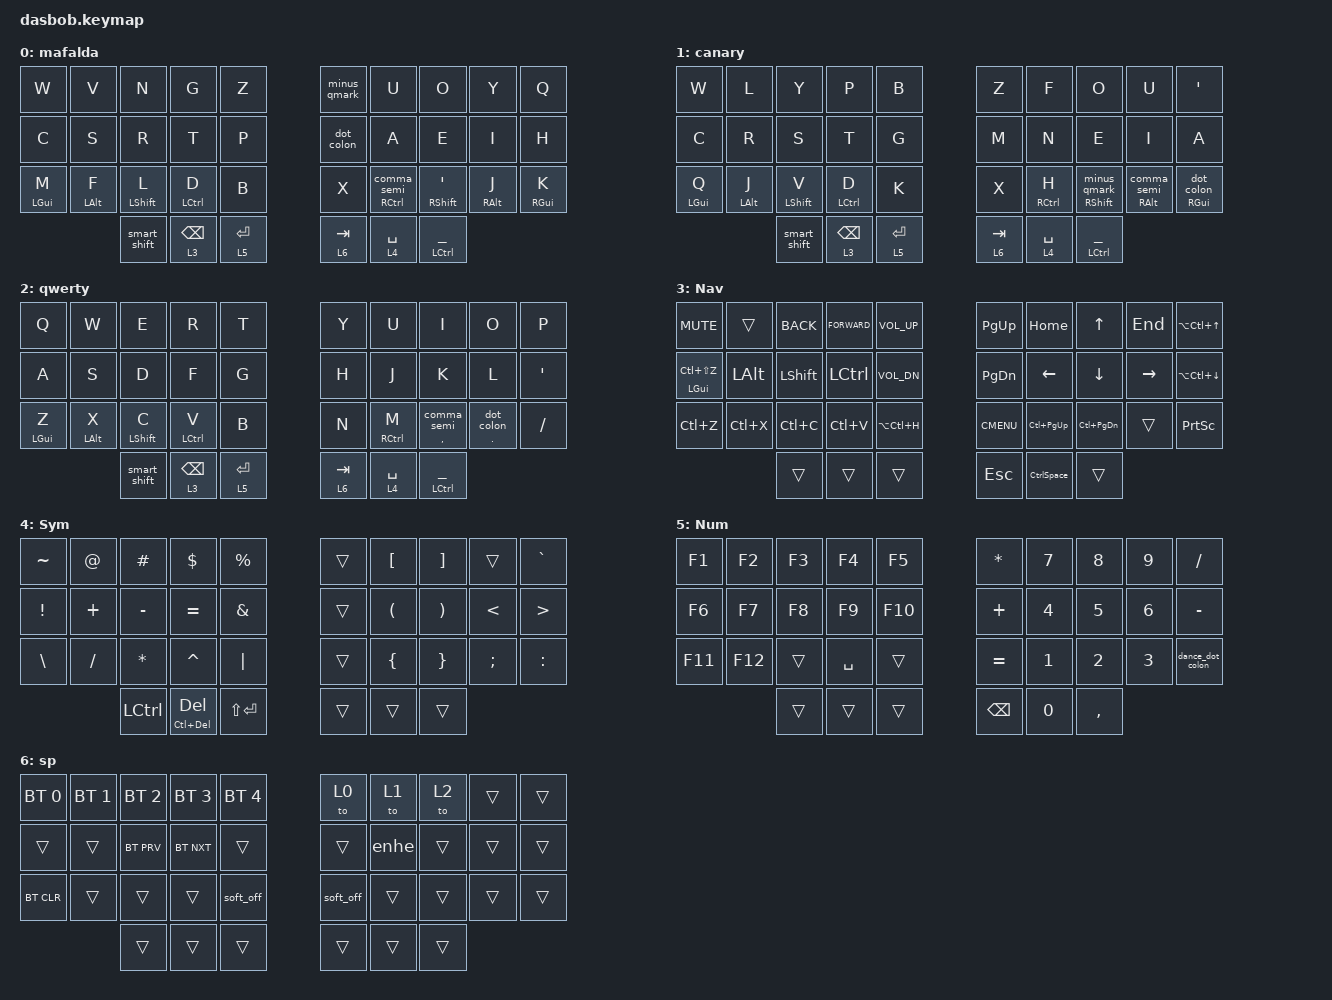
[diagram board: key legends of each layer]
#include <behaviors.dtsi>
#include <dt-bindings/zmk/bt.h>
#include <dt-bindings/zmk/keys.h>

&sk {
    quick-release;             // no double capitalization when rolling keys
};

/ {
    behaviors {
        hm: homerow_mods {
            compatible = "zmk,behavior-hold-tap";
            label = "HOMEROW_MODS";
            bindings = <&kp>, <&kp>;

            #binding-cells = <2>;
            tapping-term-ms = <200>;
            quick-tap-ms = <0>;
            flavor = "tap-preferred";
        };

        minus_qmark: minus_qmark {
            compatible = "zmk,behavior-mod-morph";
            label = "MINUS_QMARK";
            bindings = <&kp MINUS>, <&kp QMARK>;

            #binding-cells = <0>;
            mods = <(MOD_LSFT|MOD_RSFT)>;
        };

        smart_shift: smart_shift {
            compatible = "zmk,behavior-mod-morph";
            label = "SMART_SHIFT";
            bindings = <&sk LSHFT>, <&caps_word>;

            #binding-cells = <0>;
            mods = <(MOD_LSFT)>;
        };

        hml: hml {
            compatible = "zmk,behavior-hold-tap";
            label = "HML";
            bindings = <&kp>, <&kp>;

            #binding-cells = <2>;
            tapping-term-ms = <280>;
            quick-tap-ms = <175>;
            require-prior-idle-ms = <300>;
            flavor = "balanced";
            hold-trigger-on-release;
            hold-trigger-key-positions = <30 31 32 33 34 35 5 15 25 26 16 6 7 8 9 16 17 18 19 26 27 28 29>;
        };

        hmr: hmr {
            compatible = "zmk,behavior-hold-tap";
            label = "HMR";
            bindings = <&kp>, <&kp>;

            #binding-cells = <2>;
            tapping-term-ms = <280>;
            quick-tap-ms = <175>;
            require-prior-idle-ms = <300>;
            flavor = "balanced";
            hold-trigger-on-release;
            hold-trigger-key-positions = <0 1 2 3 4 10 11 12 13 14 20 21 22 23 24 30 31 32 33 34 35>;
        };

        hmr_minus_qmark: hmr_minus_qmark {
            compatible = "zmk,behavior-hold-tap";
            label = "HMR_MINUS_QMARK";
            bindings = <&kp>, <&minus_qmark>;

            #binding-cells = <2>;
            tapping-term-ms = <280>;
            quick-tap-ms = <175>;
            require-prior-idle-ms = <300>;
            flavor = "balanced";
            hold-trigger-on-release;
            hold-trigger-key-positions = <0 1 2 3 4 10 11 12 13 14 20 21 22 23 24 30 31 32 33 34 35>;
        };

        comma_semi: comma_semi {
            compatible = "zmk,behavior-mod-morph";
            label = "COMMA_SEMI";
            bindings = <&kp COMMA>, <&kp SEMI>;

            #binding-cells = <0>;
            mods = <(MOD_LSFT|MOD_RSFT)>;
        };

        dot_colon: dot_colon {
            compatible = "zmk,behavior-mod-morph";
            label = "DOT_COLON";
            bindings = <&kp DOT>, <&kp COLON>;

            #binding-cells = <0>;
            mods = <(MOD_LSFT|MOD_RSFT)>;
        };

        hmr_comma_semi: hmr_comma_semi {
            compatible = "zmk,behavior-hold-tap";
            label = "HMR_COMMA_SEMI";
            bindings = <&kp>, <&comma_semi>;

            #binding-cells = <2>;
            tapping-term-ms = <280>;
            quick-tap-ms = <175>;
            require-prior-idle-ms = <300>;
            flavor = "balanced";
            hold-trigger-on-release;
            hold-trigger-key-positions = <0 1 2 3 4 10 11 12 13 14 20 21 22 23 24 30 31 32 33 34 35>;
        };

        hmr_dot_colon: hmr_dot_colon {
            compatible = "zmk,behavior-hold-tap";
            label = "HMR_DOT_COLON";
            bindings = <&kp>, <&dot_colon>;

            #binding-cells = <2>;
            tapping-term-ms = <280>;
            quick-tap-ms = <175>;
            require-prior-idle-ms = <300>;
            flavor = "balanced";
            hold-trigger-on-release;
            hold-trigger-key-positions = <0 1 2 3 4 10 11 12 13 14 20 21 22 23 24 30 31 32 33 34 35>;
        };

        dance_dot_colon: dance_dot_colon {
            compatible = "zmk,behavior-tap-dance";
            label = "DANCE_DOT_COLON";
            #binding-cells = <0>;
            bindings = <&kp DOT>, <&kp COLON>;
        };
    };

    macros {
        CtrlSpace: CtrlSpace {
            compatible = "zmk,behavior-macro";
            #binding-cells = <0>;
            bindings =
                <&macro_press>,
                <&kp LEFT_CONTROL>,
                <&macro_tap>,
                <&kp SPACE>,
                <&macro_release>,
                <&kp LEFT_CONTROL>;

            label = "CTRLSPACE";
        };

        accent: accent {
            compatible = "zmk,behavior-macro";
            #binding-cells = <0>;
            bindings = <&kp K_CMENU &kp SQT>;
            label = "ACCENT";
        };

        enhe: enhe {
            compatible = "zmk,behavior-macro";
            #binding-cells = <0>;
            bindings = <&kp K_CMENU &kp TILDE &kp N>;
            label = "ENHE";
        };
    };

    combos {
        compatible = "zmk,combos";

        esc {
            bindings = <&kp ESC>;
            key-positions = <0 1>;
        };

        grave {
            bindings = <&kp GRAVE>;
            key-positions = <9 8>;
        };

        accent {
            bindings = <&accent>;
            key-positions = <2 3>;
        };

        menu {
            bindings = <&kp K_CMENU>;
            key-positions = <6 7>;
        };
    };

    keymap {
        compatible = "zmk,keymap";

        // This is a sample keymap intended to be replaced with your own

        mafalda {
            bindings = <
&kp W            &kp V            &kp N         &kp G            &kp Z        &minus_qmark  &kp U                    &kp O                 &kp Y        &kp Q
&kp C            &kp S            &kp R         &kp T            &kp P        &dot_colon    &kp A                    &kp E                 &kp I        &kp H
&hml LEFT_GUI M  &hml LEFT_ALT F  &hml LSHFT L  &hml LCTRL D     &kp B        &kp X         &hmr_comma_semi RCTRL 0  &hmr RSHFT SQT        &hmr RALT J  &hmr RGUI K
                                  &smart_shift  &lt 3 BACKSPACE  &lt 5 ENTER  &lt 6 TAB     &lt 4 SPACE              &mt LCTRL UNDERSCORE
            >;
        };

        canary {
            bindings = <
&kp W            &kp L            &kp Y         &kp P            &kp B        &kp Z      &kp F         &kp O                     &kp U                   &kp SQT
&kp C            &kp R            &kp S         &kp T            &kp G        &kp M      &kp N         &kp E                     &kp I                   &kp A
&hml LEFT_GUI Q  &hml LEFT_ALT J  &hml LSHFT V  &hml LCTRL D     &kp K        &kp X      &hmr RCTRL H  &hmr_minus_qmark RSHFT 0  &hmr_comma_semi RALT 0  &hmr_dot_colon RGUI 0
                                  &smart_shift  &lt 3 BACKSPACE  &lt 5 ENTER  &lt 6 TAB  &lt 4 SPACE   &mt LCTRL UNDERSCORE
            >;
        };

        qwerty {
            bindings = <
&kp Q            &kp W        &kp E         &kp R         &kp T        &kp Y      &kp U         &kp I                    &kp O                 &kp P
&kp A            &kp S        &kp D         &kp F         &kp G        &kp H      &kp J         &kp K                    &kp L                 &kp APOS
&hml LEFT_GUI Z  &hml LALT X  &hml LSHFT C  &hml LCTRL V  &kp B        &kp N      &hmr RCTRL M  &hmr_comma_semi COMMA 0  &hmr_dot_colon DOT 0  &kp FSLH
                              &smart_shift  &lt 3 BSPC    &lt 5 ENTER  &lt 6 TAB  &lt 4 SPACE   &mt LCTRL UNDER
            >;
        };

        Nav {
            bindings = <
&kp K_MUTE          &trans        &kp K_BACK      &kp K_FORWARD  &kp C_VOL_UP   &kp PG_UP    &kp HOME       &kp UP          &kp END    &kp LA(LC(UP))
&mt LGUI LC(LS(Z))  &kp LEFT_ALT  &kp LEFT_SHIFT  &kp LCTRL      &kp C_VOL_DN   &kp PG_DN    &kp LEFT       &kp DOWN_ARROW  &kp RIGHT  &kp LA(LC(DOWN))
&kp LC(Z)           &kp LC(X)     &kp LC(C)       &kp LC(V)      &kp LA(LC(H))  &kp K_CMENU  &kp LC(PG_UP)  &kp LC(PG_DN)   &trans     &kp PRINTSCREEN
                                  &trans          &trans         &trans         &kp ESC      &CtrlSpace     &trans
            >;
        };

        Sym {
            bindings = <
&kp TILDE      &kp AT     &kp HASH      &kp DOLLAR       &kp PERCENT    &trans  &kp LBKT  &kp RBKT  &trans    &kp GRAVE
&kp EXCL       &kp PLUS   &kp MINUS     &kp EQUAL        &kp AMPERSAND  &trans  &kp LPAR  &kp RPAR  &kp LT    &kp GT
&kp BACKSLASH  &kp SLASH  &kp ASTERISK  &kp CARET        &kp PIPE       &trans  &kp LBRC  &kp RBRC  &kp SEMI  &kp COLON
                          &kp LCTRL     &mt LC(DEL) DEL  &kp LS(ENTER)  &trans  &trans    &trans
            >;
        };

        Num {
            bindings = <
&kp F1   &kp F2   &kp F3  &kp F4     &kp F5   &kp STAR       &kp N7  &kp N8     &kp N9  &kp FSLH
&kp F6   &kp F7   &kp F8  &kp F9     &kp F10  &kp PLUS       &kp N4  &kp N5     &kp N6  &kp MINUS
&kp F11  &kp F12  &trans  &kp SPACE  &trans   &kp EQUAL      &kp N1  &kp N2     &kp N3  &dance_dot_colon
                  &trans  &trans     &trans   &kp BACKSPACE  &kp N0  &kp COMMA
            >;
        };

        sp {
            bindings = <
&bt BT_SEL 0  &bt BT_SEL 1  &bt BT_SEL 2  &bt BT_SEL 3  &bt BT_SEL 4  &to 0      &to 1   &to 2   &trans  &trans
&trans        &trans        &bt BT_PRV    &bt BT_NXT    &trans        &trans     &enhe   &trans  &trans  &trans
&bt BT_CLR    &trans        &trans        &trans        &soft_off     &soft_off  &trans  &trans  &trans  &trans
                            &trans        &trans        &trans        &trans     &trans  &trans
            >;
        };
    };
};
